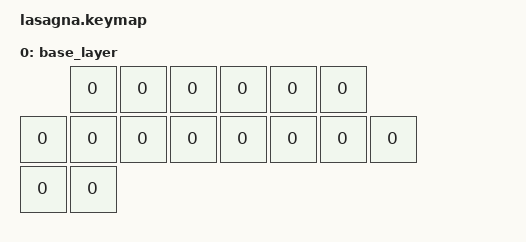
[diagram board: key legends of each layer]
/*
 * Copyright (c) 2021 The ZMK Contributors
 *
 * SPDX-License-Identifier: MIT
 */

#include <behaviors.dtsi>
#include <dt-bindings/zmk/keys.h>

/ {

	keymap {
		compatible = "zmk,keymap";

		// This is a sample keymap intended to be replaced with your own
		base_layer {
			bindings = <
				&kp N0 &kp N0 &kp N0 &kp N0 &kp N0 &kp N0 
        &kp N0 &kp N0 &kp N0 &kp N0 &kp N0 &kp N0 &kp N0 &kp N0 
        &kp N0 &kp N0 
			>;
		};

	};
};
